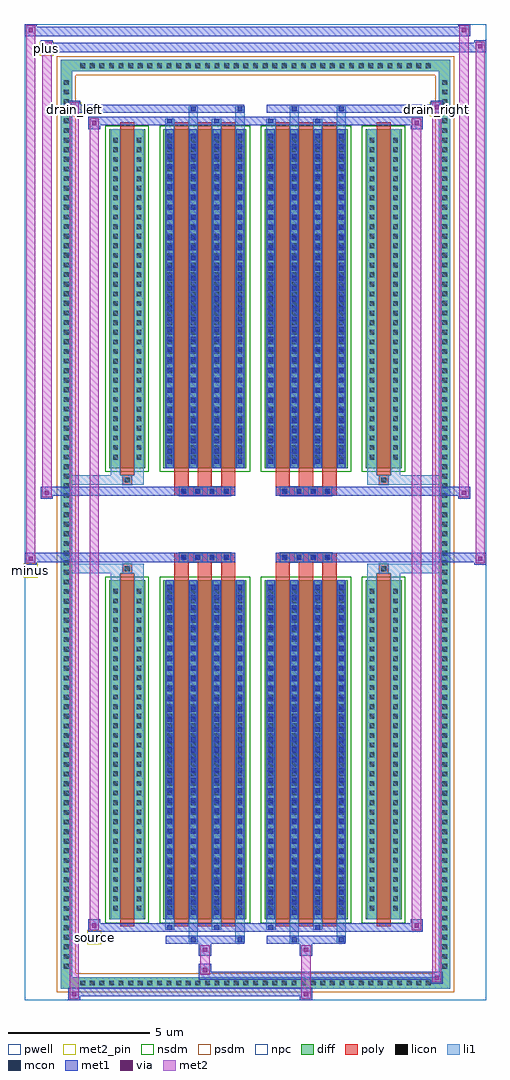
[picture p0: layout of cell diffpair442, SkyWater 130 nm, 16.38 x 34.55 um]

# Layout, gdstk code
import gdstk
lib = gdstk.Library(unit=1e-6, precision=5e-09)
def R(c, l, rs):  # rectangles x0, y0, x1, y1
    for r in rs: c.add(gdstk.rectangle(r[:2], r[2:], *l))
def A(c, l, x, y, w, h, nx, ny, dx, dy):  # array of equal rectangles
    R(c, l, [(x+i*dx, y+j*dy, x+i*dx+w, y+j*dy+h) for i in range(nx) for j in range(ny)])
def P(c, l, *ps):  # polygons
    for p in ps: c.add(gdstk.Polygon(p, *l))
pwell = (64, 44)
diff = (65, 20)
poly = (66, 20)
licon = (66, 44)
li1 = (67, 20)
mcon = (67, 44)
met1 = (68, 20)
via = (68, 44)
met2_pin = (69, 16)
met2 = (69, 20)
nsdm = (93, 44)
psdm = (94, 20)
npc = (95, 20)

diffpair442 = lib.new_cell('diffpair442')
R(diffpair442, pwell, [(-8.17,-16.84,8.17,17.71), (-5.49,-15.03,-0.01,-0.805), (0.01,-15.03,5.49,-0.805), (-5.49,0.805,-0.01,15.03), (0.01,0.805,5.49,15.03)])
A(diffpair442, diff, -6.325, -16.44, 0.41, 0.41, 37, 2, 0.34, 32.47)
A(diffpair442, diff, -6.9, -15.845, 0.41, 0.41, 1, 93, 0, 0.34)
A(diffpair442, diff, 6.49, -15.845, 0.41, 0.41, 1, 93, 0, 0.34)
R(diffpair442, diff, [(-6.325,-16.44,6.325,-16.03), (-6.9,-15.845,-6.49,15.845), (6.49,-15.845,6.9,15.845), (-5.18,-13.985,-3.9,-1.985), (-3.26,-13.985,-0.32,-1.985), (0.32,-13.985,3.26,-1.985), (3.9,-13.985,5.18,-1.985), (-5.18,1.985,-3.9,13.985), (-3.26,1.985,-0.32,13.985), (0.32,1.985,3.26,13.985), (3.9,1.985,5.18,13.985), (-6.325,16.03,6.325,16.44)])
P(diffpair442, diff, [(6.9,16.44),(-6.9,16.44),(-6.9,-16.03),(-6.49,-16.03),(-6.49,16.03),(6.49,16.03),(6.49,-16.03),(-6.49,-16.03),(-6.9,-16.03),(-6.9,-16.44),(6.9,-16.44)])
A(diffpair442, poly, -2.87, -14.235, 0.5, 12.5, 3, 2, 0.83, 15.97)
A(diffpair442, poly, 0.71, -14.235, 0.5, 12.5, 3, 2, 0.83, 15.97)
A(diffpair442, poly, -2.87, -1.735, 0.5, 0.4, 3, 2, 0.83, 3.07)
A(diffpair442, poly, 0.71, -1.735, 0.5, 0.4, 3, 2, 0.83, 3.07)
A(diffpair442, poly, -2.705, -1.335, 0.33, 0.33, 4, 2, 0.5, 2.34)
A(diffpair442, poly, 0.875, -1.335, 0.33, 0.33, 4, 2, 0.5, 2.34)
R(diffpair442, poly, [(-4.79,-14.235,-4.29,-1.735), (4.29,-14.235,4.79,-1.735), (-4.705,-1.735,-4.375,-1.405), (-4.705,-1.735,-4.375,-1.405), (4.375,-1.735,4.705,-1.405), (4.375,-1.735,4.705,-1.405), (-2.87,-1.335,-0.71,-1.005), (0.71,-1.335,2.87,-1.005), (-2.87,1.005,-0.71,1.335), (0.71,1.005,2.87,1.335), (-4.705,1.405,-4.375,1.735), (-4.705,1.405,-4.375,1.735), (4.375,1.405,4.705,1.735), (4.375,1.405,4.705,1.735), (-4.79,1.735,-4.29,14.235), (4.29,1.735,4.79,14.235)])
A(diffpair442, licon, -6.205, -16.32, 0.17, 0.17, 37, 2, 0.34, 32.47)
A(diffpair442, licon, -6.78, -15.725, 0.17, 0.17, 1, 93, 0, 0.34)
A(diffpair442, licon, 6.61, -15.725, 0.17, 0.17, 1, 93, 0, 0.34)
A(diffpair442, licon, -5.04, -13.68, 0.17, 0.17, 1, 34, 0, 0.34)
A(diffpair442, licon, -4.21, -13.68, 0.17, 0.17, 1, 34, 0, 0.34)
A(diffpair442, licon, -3.12, -13.68, 0.17, 0.17, 4, 34, 0.83, 0.34)
A(diffpair442, licon, 0.46, -13.68, 0.17, 0.17, 4, 34, 0.83, 0.34)
A(diffpair442, licon, 4.04, -13.68, 0.17, 0.17, 1, 34, 0, 0.34)
A(diffpair442, licon, 4.87, -13.68, 0.17, 0.17, 1, 34, 0, 0.34)
A(diffpair442, licon, -2.625, -1.255, 0.17, 0.17, 4, 2, 0.5, 2.34)
A(diffpair442, licon, 0.955, -1.255, 0.17, 0.17, 4, 2, 0.5, 2.34)
A(diffpair442, licon, -5.04, 2.29, 0.17, 0.17, 1, 34, 0, 0.34)
A(diffpair442, licon, -4.21, 2.29, 0.17, 0.17, 1, 34, 0, 0.34)
A(diffpair442, licon, -3.12, 2.29, 0.17, 0.17, 4, 34, 0.83, 0.34)
A(diffpair442, licon, 0.46, 2.29, 0.17, 0.17, 4, 34, 0.83, 0.34)
A(diffpair442, licon, 4.04, 2.29, 0.17, 0.17, 1, 34, 0, 0.34)
A(diffpair442, licon, 4.87, 2.29, 0.17, 0.17, 1, 34, 0, 0.34)
R(diffpair442, licon, [(-4.625,-1.655,-4.455,-1.485), (4.455,-1.655,4.625,-1.485), (-4.625,1.485,-4.455,1.655), (4.455,1.485,4.625,1.655)])
A(diffpair442, li1, -6.285, -16.4, 0.33, 0.33, 37, 2, 0.34, 32.47)
A(diffpair442, li1, -6.86, -15.805, 0.33, 0.33, 1, 93, 0, 0.34)
A(diffpair442, li1, 6.53, -15.805, 0.33, 0.33, 1, 93, 0, 0.34)
A(diffpair442, li1, -3.2, -13.985, 0.33, 12, 4, 2, 0.83, 15.97)
A(diffpair442, li1, 0.38, -13.985, 0.33, 12, 4, 2, 0.83, 15.97)
A(diffpair442, li1, -3.12, -13.83, 0.17, 0.17, 4, 33, 0.83, 0.36)
A(diffpair442, li1, -3.12, -13.83, 0.17, 11.69, 4, 2, 0.83, 15.97)
A(diffpair442, li1, 0.46, -13.83, 0.17, 0.17, 4, 33, 0.83, 0.36)
A(diffpair442, li1, 0.46, -13.83, 0.17, 11.69, 4, 2, 0.83, 15.97)
A(diffpair442, li1, -5.12, -13.76, 0.33, 0.33, 1, 34, 0, 0.34)
A(diffpair442, li1, -4.29, -13.76, 0.33, 0.33, 1, 34, 0, 0.34)
A(diffpair442, li1, -3.2, -13.76, 0.33, 0.33, 4, 34, 0.83, 0.34)
A(diffpair442, li1, 0.38, -13.76, 0.33, 0.33, 4, 34, 0.83, 0.34)
A(diffpair442, li1, 3.96, -13.76, 0.33, 0.33, 1, 34, 0, 0.34)
A(diffpair442, li1, 4.79, -13.76, 0.33, 0.33, 1, 34, 0, 0.34)
A(diffpair442, li1, -2.705, -1.335, 0.33, 0.33, 4, 2, 0.5, 2.34)
A(diffpair442, li1, 0.875, -1.335, 0.33, 0.33, 4, 2, 0.5, 2.34)
A(diffpair442, li1, -3.12, 2.14, 0.17, 0.17, 4, 33, 0.83, 0.36)
A(diffpair442, li1, 0.46, 2.14, 0.17, 0.17, 4, 33, 0.83, 0.36)
A(diffpair442, li1, -5.12, 2.21, 0.33, 0.33, 1, 34, 0, 0.34)
A(diffpair442, li1, -4.29, 2.21, 0.33, 0.33, 1, 34, 0, 0.34)
A(diffpair442, li1, -3.2, 2.21, 0.33, 0.33, 4, 34, 0.83, 0.34)
A(diffpair442, li1, 0.38, 2.21, 0.33, 0.33, 4, 34, 0.83, 0.34)
A(diffpair442, li1, 3.96, 2.21, 0.33, 0.33, 1, 34, 0, 0.34)
A(diffpair442, li1, 4.79, 2.21, 0.33, 0.33, 1, 34, 0, 0.34)
R(diffpair442, li1, [(-6.9,-16.44,-6.49,-16.03), (-6.9,-16.44,-6.49,-16.03), (-6.49,-16.44,6.49,-16.03), (6.49,-16.44,6.9,-16.03), (6.49,-16.44,6.9,-16.03), (-6.9,-16.03,-6.49,16.03), (6.49,-16.03,6.9,16.03), (-2.37,-14.79,-2.04,-13.985), (-2.29,-14.79,-2.12,-14.62), (-0.71,-14.79,-0.38,-13.985), (-0.63,-14.79,-0.46,-14.62), (1.21,-14.79,1.54,-13.985), (1.29,-14.79,1.46,-14.62), (2.87,-14.79,3.2,-13.985), (2.95,-14.79,3.12,-14.62), (-3.2,-14.36,-2.87,-13.985), (-3.12,-14.36,-2.95,-14.19), (-1.54,-14.36,-1.21,-13.985), (-1.46,-14.36,-1.29,-14.19), (0.38,-14.36,0.71,-13.985), (0.46,-14.36,0.63,-14.19), (2.04,-14.36,2.37,-13.985), (2.12,-14.36,2.29,-14.19), (-5.12,-13.985,-4.79,-1.985), (-4.29,-13.985,-3.96,-1.985), (3.96,-13.985,4.29,-1.985), (4.79,-13.985,5.12,-1.985), (-5.12,-1.985,-4.79,-1.405), (-4.29,-1.985,-3.96,-1.405), (3.96,-1.985,4.29,-1.405), (4.79,-1.985,5.12,-1.405), (-6.9,-1.735,-4.705,-1.405), (-5.12,-1.735,-4.705,-1.405), (-4.705,-1.735,-4.375,-1.405), (-4.375,-1.735,-3.96,-1.405), (3.96,-1.735,4.375,-1.405), (4.375,-1.735,4.705,-1.405), (4.375,-1.735,6.9,-1.405), (4.705,-1.735,5.12,-1.405), (-6.9,1.405,-4.705,1.735), (-5.12,1.405,-4.705,1.735), (-5.12,1.405,-4.79,1.985), (-4.705,1.405,-4.375,1.735), (-4.375,1.405,-3.96,1.735), (-4.29,1.405,-3.96,1.985), (3.96,1.405,4.375,1.735), (3.96,1.405,4.29,1.985), (4.375,1.405,4.705,1.735), (4.375,1.405,6.9,1.735), (4.705,1.405,5.12,1.735), (4.79,1.405,5.12,1.985), (-5.12,1.985,-4.79,13.985), (-4.29,1.985,-3.96,13.985), (3.96,1.985,4.29,13.985), (4.79,1.985,5.12,13.985), (-3.2,13.985,-2.87,14.36), (-2.37,13.985,-2.04,14.79), (-1.54,13.985,-1.21,14.36), (-0.71,13.985,-0.38,14.79), (0.38,13.985,0.71,14.36), (1.21,13.985,1.54,14.79), (2.04,13.985,2.37,14.36), (2.87,13.985,3.2,14.79), (-3.12,14.19,-2.95,14.36), (-1.46,14.19,-1.29,14.36), (0.46,14.19,0.63,14.36), (2.12,14.19,2.29,14.36), (-2.29,14.62,-2.12,14.79), (-0.63,14.62,-0.46,14.79), (1.29,14.62,1.46,14.79), (2.95,14.62,3.12,14.79), (-6.9,16.03,-6.49,16.44), (-6.9,16.03,-6.49,16.44), (-6.49,16.03,6.49,16.44), (6.49,16.03,6.9,16.44), (6.49,16.03,6.9,16.44)])
A(diffpair442, mcon, -3.12, -13.83, 0.17, 0.17, 4, 33, 0.83, 0.36)
A(diffpair442, mcon, 0.46, -13.83, 0.17, 0.17, 4, 33, 0.83, 0.36)
A(diffpair442, mcon, -2.625, -1.255, 0.17, 0.17, 4, 2, 0.5, 2.34)
A(diffpair442, mcon, 0.955, -1.255, 0.17, 0.17, 4, 2, 0.5, 2.34)
A(diffpair442, mcon, -3.12, 2.14, 0.17, 0.17, 4, 33, 0.83, 0.36)
A(diffpair442, mcon, 0.46, 2.14, 0.17, 0.17, 4, 33, 0.83, 0.36)
R(diffpair442, mcon, [(-2.29,-14.79,-2.12,-14.62), (-0.63,-14.79,-0.46,-14.62), (1.29,-14.79,1.46,-14.62), (2.95,-14.79,3.12,-14.62), (-3.12,-14.36,-2.95,-14.19), (-1.46,-14.36,-1.29,-14.19), (0.46,-14.36,0.63,-14.19), (2.12,-14.36,2.29,-14.19), (-3.12,14.19,-2.95,14.36), (-1.46,14.19,-1.29,14.36), (0.46,14.19,0.63,14.36), (2.12,14.19,2.29,14.36), (-2.29,14.62,-2.12,14.79), (-0.63,14.62,-0.46,14.79), (1.29,14.62,1.46,14.79), (2.95,14.62,3.12,14.79)])
A(diffpair442, met1, -3.18, -13.985, 0.29, 12, 4, 2, 0.83, 15.97)
A(diffpair442, met1, 0.4, -13.985, 0.29, 12, 4, 2, 0.83, 15.97)
A(diffpair442, met1, -3.18, -13.89, 0.29, 0.29, 4, 33, 0.83, 0.36)
A(diffpair442, met1, 0.4, -13.89, 0.29, 0.29, 4, 33, 0.83, 0.36)
A(diffpair442, met1, -2.685, -1.315, 0.29, 0.29, 4, 2, 0.5, 2.34)
A(diffpair442, met1, 0.895, -1.315, 0.29, 0.29, 4, 2, 0.5, 2.34)
A(diffpair442, met1, -3.18, 2.08, 0.29, 0.29, 4, 33, 0.83, 0.36)
A(diffpair442, met1, 0.4, 2.08, 0.29, 0.29, 4, 33, 0.83, 0.36)
R(diffpair442, met1, [(-6.63,-16.84,-6.2,-16.41), (1.575,-16.84,2.005,-16.41), (-6.63,-16.7,2.005,-16.41), (6.2,-16.27,6.63,-15.84), (-2.005,-16.13,6.63,-15.84), (-2.005,-15.99,-1.575,-15.56), (-2.005,-15.28,-1.575,-14.85), (1.575,-15.28,2.005,-14.85), (-3.18,-14.85,-0.4,-14.56), (-2.35,-14.85,-2.06,-14.56), (-0.69,-14.85,-0.4,-14.56), (0.4,-14.85,3.18,-14.56), (1.23,-14.85,1.52,-14.56), (2.89,-14.85,3.18,-14.56), (-5.92,-14.42,-5.49,-13.99), (-5.92,-14.42,-3.18,-14.13), (-3.18,-14.42,-2.89,-14.13), (-3.18,-14.42,-0.4,-14.13), (-1.52,-14.42,-1.23,-14.13), (-0.4,-14.42,0.4,-14.13), (0.4,-14.42,0.69,-14.13), (0.4,-14.42,3.18,-14.13), (2.06,-14.42,2.35,-14.13), (3.18,-14.42,5.92,-14.13), (5.49,-14.42,5.92,-13.99), (-8.17,-1.435,-7.74,-1.005), (7.74,-1.435,8.17,-1.005), (-8.17,-1.335,-0.71,-1.005), (-2.87,-1.335,-0.71,-1.005), (0.71,-1.335,2.87,-1.005), (0.71,-1.335,8.17,-1.005), (-7.6,0.905,-7.17,1.335), (7.17,0.905,7.6,1.335), (-7.6,1.005,-2.87,1.335), (-2.87,1.005,-0.71,1.335), (0.71,1.005,2.87,1.335), (2.87,1.005,7.6,1.335), (-5.92,13.99,-5.49,14.42), (5.49,13.99,5.92,14.42), (-5.92,14.13,-3.18,14.42), (-3.18,14.13,-2.89,14.42), (-3.18,14.13,-0.4,14.42), (-1.52,14.13,-1.23,14.42), (-0.4,14.13,0.4,14.42), (0.4,14.13,0.69,14.42), (0.4,14.13,3.18,14.42), (2.06,14.13,2.35,14.42), (3.18,14.13,5.92,14.42), (-6.63,14.56,-6.2,14.99), (-6.63,14.56,-3.18,14.85), (-3.18,14.56,-0.4,14.85), (-2.35,14.56,-2.06,14.85), (-0.69,14.56,-0.4,14.85), (0.4,14.56,3.18,14.85), (1.23,14.56,1.52,14.85), (2.89,14.56,3.18,14.85), (3.18,14.56,6.63,14.85), (6.2,14.56,6.63,14.99), (-7.6,16.71,-7.17,17.14), (-7.6,16.71,-5.49,17.04), (-5.49,16.71,5.49,17.04), (5.49,16.71,8.17,17.04), (7.74,16.71,8.17,17.14), (-8.17,17.28,-7.74,17.71), (-8.17,17.28,-5.49,17.61), (-5.49,17.28,5.49,17.61), (5.49,17.28,7.6,17.61), (7.17,17.28,7.6,17.71)])
R(diffpair442, via, [(-6.49,-16.7,-6.34,-16.55), (1.715,-16.7,1.865,-16.55), (6.34,-16.13,6.49,-15.98), (-1.865,-15.85,-1.715,-15.7), (-1.865,-15.14,-1.715,-14.99), (1.715,-15.14,1.865,-14.99), (-5.78,-14.28,-5.63,-14.13), (5.63,-14.28,5.78,-14.13), (-8.03,-1.295,-7.88,-1.145), (7.88,-1.295,8.03,-1.145), (-7.46,1.045,-7.31,1.195), (7.31,1.045,7.46,1.195), (-5.78,14.13,-5.63,14.28), (5.63,14.13,5.78,14.28), (-6.49,14.7,-6.34,14.85), (6.34,14.7,6.49,14.85), (-7.46,16.85,-7.31,17), (7.88,16.85,8.03,17), (-8.03,17.42,-7.88,17.57), (7.31,17.42,7.46,17.57)])
R(diffpair442, met2_pin, [(-5.955,-14.87,-5.455,-14.37), (-8.205,-1.885,-7.705,-1.385), (-6.665,14.44,-6.165,14.94), (6.165,14.44,6.665,14.94), (-7.635,16.59,-7.135,17.09)])
R(diffpair442, met2, [(-6.58,-16.79,-6.25,-16.46), (-6.58,-16.79,-6.25,14.94), (1.625,-16.79,1.955,-16.46), (1.625,-16.46,1.955,-15.23), (6.25,-16.22,6.58,-15.89), (6.25,-16.22,6.58,14.94), (-1.955,-15.94,-1.625,-15.61), (-1.955,-15.61,-1.625,-15.23), (-1.955,-15.23,-1.625,-14.9), (1.625,-15.23,1.955,-14.9), (-5.87,-14.37,-5.54,-14.04), (-5.87,-14.37,-5.54,14.37), (5.54,-14.37,5.87,-14.04), (5.54,-14.37,5.87,14.37), (-8.12,-1.385,-7.79,-1.055), (-8.12,-1.385,-7.79,17.66), (7.79,-1.385,8.12,-1.055), (7.79,-1.385,8.12,17.09), (-7.55,0.955,-7.22,1.285), (-7.55,0.955,-7.22,17.09), (7.22,0.955,7.55,1.285), (7.22,0.955,7.55,17.66), (-5.87,14.04,-5.54,14.37), (5.54,14.04,5.87,14.37), (-6.58,14.61,-6.25,14.94), (6.25,14.61,6.58,14.94), (-7.55,16.76,-7.22,17.09), (7.79,16.76,8.12,17.09), (-8.12,17.33,-7.79,17.66), (7.22,17.33,7.55,17.66)])
P(diffpair442, met2, [(8.12,-1.385),(8.12,-1.385),(8.12,-1.055),(8.12,-1.055)],
  [(8.12,16.76),(8.12,16.76),(8.12,17.09),(8.12,17.09)],
  [(-7.79,-1.385),(-7.79,-1.385),(-7.79,-1.055),(-7.79,-1.055)],
  [(-7.79,17.33),(-7.79,17.33),(-7.79,17.66),(-7.79,17.66)],
  [(7.55,0.955),(7.55,0.955),(7.55,1.285),(7.55,1.285)],
  [(7.55,17.33),(7.55,17.33),(7.55,17.66),(7.55,17.66)],
  [(-7.22,0.955),(-7.22,0.955),(-7.22,1.285),(-7.22,1.285)],
  [(-7.22,16.76),(-7.22,16.76),(-7.22,17.09),(-7.22,17.09)],
  [(-6.25,-16.79),(-6.25,-16.79),(-6.25,-16.46),(-6.25,-16.46)],
  [(-6.25,14.61),(-6.25,14.61),(-6.25,14.94),(-6.25,14.94)],
  [(6.58,-16.22),(6.58,-16.22),(6.58,-15.89),(6.58,-15.89)],
  [(6.58,14.61),(6.58,14.61),(6.58,14.94),(6.58,14.94)],
  [(-5.54,-14.37),(-5.54,-14.37),(-5.54,-14.04),(-5.54,-14.04)],
  [(-5.54,14.04),(-5.54,14.04),(-5.54,14.37),(-5.54,14.37)],
  [(5.87,-14.37),(5.87,-14.37),(5.87,-14.04),(5.87,-14.04)],
  [(5.87,14.04),(5.87,14.04),(5.87,14.37),(5.87,14.37)])
R(diffpair442, nsdm, [(-5.31,-14.115,-3.77,-1.855), (-3.39,-14.115,-0.19,-1.855), (0.19,-14.115,3.39,-1.855), (3.77,-14.115,5.31,-1.855), (-5.31,1.855,-3.77,14.115), (-3.39,1.855,-0.19,14.115), (0.19,1.855,3.39,14.115), (3.77,1.855,5.31,14.115)])
P(diffpair442, psdm, [(7.03,16.57),(-7.03,16.57),(-7.03,-15.9),(-6.36,-15.9),(-6.36,15.9),(6.36,15.9),(6.36,-15.9),(-6.36,-15.9),(-7.03,-15.9),(-7.03,-16.57),(7.03,-16.57)])
A(diffpair442, npc, -2.725, -1.355, 0.37, 0.37, 4, 2, 0.5, 2.34)
A(diffpair442, npc, 0.855, -1.355, 0.37, 0.37, 4, 2, 0.5, 2.34)
R(diffpair442, npc, [(-4.725,-1.755,-4.355,-1.385), (4.355,-1.755,4.725,-1.385), (-2.725,-1.355,-1.855,-0.985), (-2.725,-1.355,-1.855,-0.985), (-2.225,-1.355,-1.355,-0.985), (-2.225,-1.355,-1.355,-0.985), (-1.725,-1.355,-0.855,-0.985), (-1.725,-1.355,-0.855,-0.985), (0.855,-1.355,1.725,-0.985), (0.855,-1.355,1.725,-0.985), (1.355,-1.355,2.225,-0.985), (1.355,-1.355,2.225,-0.985), (1.855,-1.355,2.725,-0.985), (1.855,-1.355,2.725,-0.985), (-2.725,0.985,-1.855,1.355), (-2.725,0.985,-1.855,1.355), (-2.225,0.985,-1.355,1.355), (-2.225,0.985,-1.355,1.355), (-1.725,0.985,-0.855,1.355), (-1.725,0.985,-0.855,1.355), (0.855,0.985,1.725,1.355), (0.855,0.985,1.725,1.355), (1.355,0.985,2.225,1.355), (1.355,0.985,2.225,1.355), (1.855,0.985,2.725,1.355), (1.855,0.985,2.725,1.355), (-4.725,1.385,-4.355,1.755), (4.355,1.385,4.725,1.755)])
diffpair442.add(gdstk.Label('minus', (-7.955,-1.635), layer=69, texttype=5))
diffpair442.add(gdstk.Label('drain_right', (6.415,14.69), layer=69, texttype=5))
diffpair442.add(gdstk.Label('drain_left', (-6.415,14.69), layer=69, texttype=5))
diffpair442.add(gdstk.Label('source', (-5.705,-14.62), layer=69, texttype=5))
diffpair442.add(gdstk.Label('plus', (-7.385,16.84), layer=69, texttype=5))

lib.write_gds('diffpair442.gds')
